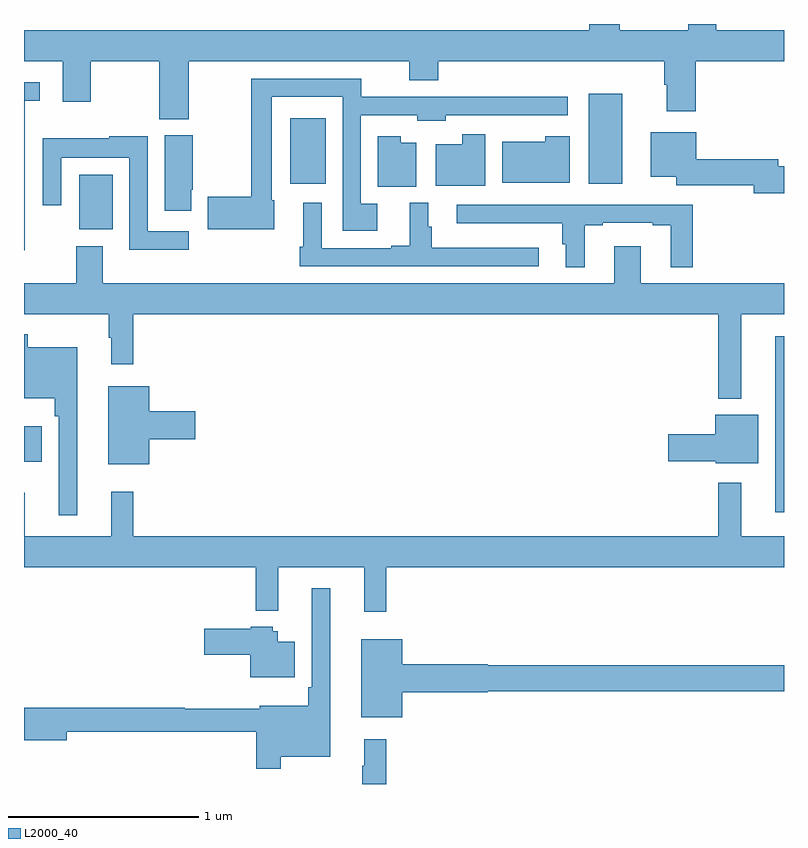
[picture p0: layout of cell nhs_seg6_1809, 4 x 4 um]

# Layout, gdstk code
import gdstk
lib = gdstk.Library(unit=1e-6, precision=1e-09)
def R(c, l, rs):  # rectangles x0, y0, x1, y1
    for r in rs: c.add(gdstk.rectangle(r[:2], r[2:], *l))
def P(c, l, *ps):  # polygons
    for p in ps: c.add(gdstk.Polygon(p, *l))
L2000_40 = (2000, 40)

nhs_seg6_1809 = lib.new_cell('nhs_seg6_1809')
R(nhs_seg6_1809, L2000_40, [(222.953,976.929,223,977.857), (219,977.195,219.094,977.383), (219.29,978.419,219.466,978.706), (220.4,978.659,220.588,979.003), (221.972,978.659,222.148,979.132)])
P(nhs_seg6_1809, L2000_40, [(222.536,979.304),(223,979.304),(223,979.468),(222.643,979.468),(222.643,979.5),(222.496,979.5),(222.496,979.468),(222.135,979.468),(222.135,979.5),(221.975,979.5),(221.975,979.468),(219,979.468),(219,979.304),(219.203,979.304),(219.203,979.092),(219.351,979.092),(219.351,979.304),(219.712,979.304),(219.712,979),(219.867,979),(219.867,979.304),(221.027,979.304),(221.027,979.205),(221.18,979.205),(221.18,979.304),(222.371,979.304),(222.371,979.181),(222.383,979.181),(222.383,979.041),(222.536,979.041)],
  [(220.858,978.553),(220.773,978.553),(220.773,979.02),(221.07,979.02),(221.07,978.992),(221.22,978.992),(221.22,979.02),(221.524,979.02),(221.524,979.019),(221.863,979.019),(221.863,979.118),(220.776,979.118),(220.776,979.212),(220.197,979.212),(220.197,978.59),(219.966,978.59),(219.966,978.419),(220.318,978.419),(220.318,978.573),(220.305,978.573),(220.305,979.116),(220.677,979.116),(220.677,978.413),(220.858,978.413)],
  [(219.004,979.097),(219.082,979.097),(219.082,979.194),(219,979.194),(219,978.308),(219.004,978.308)],
  [(223,978.752),(222.97,978.752),(222.97,978.788),(222.538,978.788),(222.538,978.931),(222.299,978.931),(222.299,978.695),(222.432,978.695),(222.432,978.652),(222.842,978.652),(222.842,978.61),(223,978.61)],
  [(221.428,978.919),(221.306,978.919),(221.306,978.868),(221.168,978.868),(221.168,978.65),(221.428,978.65)],
  [(219.88,978.628),(219.888,978.628),(219.888,978.915),(219.74,978.915),(219.74,978.516),(219.88,978.516)],
  [(221.872,978.91),(221.743,978.91),(221.743,978.88),(221.516,978.88),(221.516,978.665),(221.872,978.665)],
  [(221.065,978.874),(220.984,978.874),(220.984,978.91),(220.862,978.91),(220.862,978.644),(221.065,978.644)],
  [(219.868,978.408),(219.651,978.408),(219.651,978.908),(219.448,978.908),(219.448,978.898),(219.099,978.898),(219.099,978.546),(219.195,978.546),(219.195,978.797),(219.555,978.797),(219.555,978.311),(219.868,978.311)],
  [(221.71,978.322),(221.147,978.322),(221.147,978.432),(221.128,978.432),(221.128,978.559),(221.03,978.559),(221.03,978.334),(220.934,978.334),(220.934,978.321),(220.566,978.321),(220.566,978.559),(220.469,978.559),(220.469,978.328),(220.45,978.328),(220.45,978.225),(221.71,978.225)],
  [(221.95,978.441),(222.046,978.441),(222.046,978.453),(222.308,978.453),(222.308,978.441),(222.404,978.441),(222.404,978.221),(222.521,978.221),(222.521,978.55),(222.229,978.55),(222.229,978.549),(221.277,978.549),(221.277,978.452),(221.833,978.452),(221.833,978.342),(221.852,978.342),(221.852,978.221),(221.95,978.221)],
  [(222.775,977.972),(223,977.972),(223,978.136),(222.247,978.136),(222.247,978.331),(222.107,978.331),(222.107,978.136),(219.415,978.136),(219.415,978.331),(219.275,978.331),(219.275,978.136),(219,978.136),(219,977.972),(219.447,977.972),(219.447,977.849),(219.458,977.849),(219.458,977.709),(219.575,977.709),(219.575,977.972),(222.654,977.972),(222.654,977.528),(222.775,977.528)],
  [(219.28,977.8),(219.019,977.8),(219.019,977.866),(219,977.866),(219,977.531),(219.163,977.531),(219.163,977.435),(219.183,977.435),(219.183,976.914),(219.28,976.914)],
  [(219.658,977.315),(219.901,977.315),(219.901,977.462),(219.658,977.462),(219.658,977.593),(219.443,977.593),(219.443,977.183),(219.658,977.183)],
  [(222.865,977.443),(222.638,977.443),(222.638,977.342),(222.39,977.342),(222.39,977.2),(222.642,977.2),(222.642,977.189),(222.865,977.189)],
  [(220.907,976.64),(223,976.64),(223,976.804),(222.775,976.804),(222.775,977.086),(222.654,977.086),(222.654,976.804),(219.575,976.804),(219.575,977.038),(219.458,977.038),(219.458,976.804),(219.005,976.804),(219.005,977.032),(219,977.032),(219,976.64),(220.219,976.64),(220.219,976.412),(220.337,976.412),(220.337,976.64),(220.79,976.64),(220.79,976.407),(220.907,976.407)],
  [(220.351,975.644),(220.612,975.644),(220.612,976.531),(220.515,976.531),(220.515,976.009),(220.495,976.009),(220.495,975.913),(220.241,975.913),(220.241,975.895),(219.845,975.895),(219.845,975.902),(219,975.902),(219,975.731),(219.226,975.731),(219.226,975.774),(220.222,975.774),(220.222,975.579),(220.351,975.579)],
  [(220.426,976.249),(220.336,976.249),(220.336,976.305),(220.308,976.305),(220.308,976.327),(220.194,976.327),(220.194,976.317),(219.948,976.317),(219.948,976.18),(220.19,976.18),(220.19,976.061),(220.426,976.061)],
  [(220.99,975.983),(221.442,975.983),(221.442,975.988),(223,975.988),(223,976.124),(221.442,976.124),(221.442,976.13),(220.99,976.13),(220.99,976.261),(220.775,976.261),(220.775,975.851),(220.99,975.851)],
  [(220.907,975.736),(220.79,975.736),(220.79,975.596),(220.779,975.596),(220.779,975.5),(220.907,975.5)])

lib.write_gds('nhs_seg6_1809.gds')
